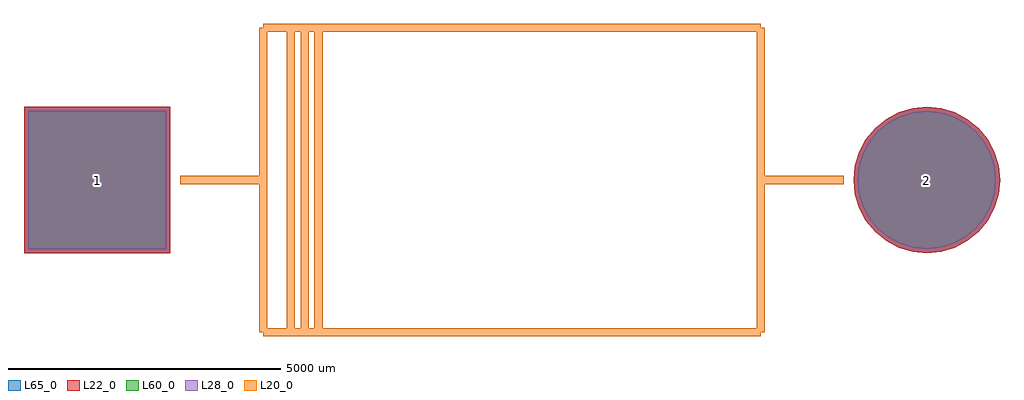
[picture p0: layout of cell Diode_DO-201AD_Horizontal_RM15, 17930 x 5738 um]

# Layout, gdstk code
import gdstk
lib = gdstk.Library(unit=1e-6, precision=1e-09)
def R(c, l, rs):  # rectangles x0, y0, x1, y1
    for r in rs: c.add(gdstk.rectangle(r[:2], r[2:], *l))
def P(c, l, *ps):  # polygons
    for p in ps: c.add(gdstk.Polygon(p, *l))
L20_0 = (20, 0)
L22_0 = (22, 0)
L28_0 = (28, 0)
L60_0 = (60, 0)
L65_0 = (65, 0)

diode_do_201ad_horizonta = lib.new_cell('Diode_DO-201AD_Horizontal_RM15')
R(diode_do_201ad_horizonta, L22_0, [(-1343.78,-1342.04,1346.22,1347.96)])
P(diode_do_201ad_horizonta, L22_0, [(16586.22,2.96),(16560.376,265.356),(16483.838,517.669),(16359.547,750.202),(16192.279,954.019),(15988.462,1121.287),(15755.929,1245.578),(15503.616,1322.116),(15241.22,1347.96),(14978.824,1322.116),(14726.511,1245.578),(14493.978,1121.287),(14290.161,954.019),(14122.893,750.202),(13998.602,517.669),(13922.064,265.356),(13896.22,2.96),(13922.064,-259.436),(13998.602,-511.749),(14122.893,-744.282),(14290.161,-948.099),(14493.978,-1115.367),(14726.511,-1239.658),(14978.824,-1316.196),(15241.22,-1342.04),(15503.616,-1316.196),(15755.929,-1239.658),(15988.462,-1115.367),(16192.279,-948.099),(16359.547,-744.282),(16483.838,-511.749),(16560.376,-259.436)])
R(diode_do_201ad_horizonta, L28_0, [(-1268.78,-1267.04,1271.22,1272.96)])
P(diode_do_201ad_horizonta, L28_0, [(16511.22,2.96),(16486.817,250.725),(16414.547,488.968),(16297.186,708.534),(16139.246,900.986),(15946.794,1058.926),(15727.228,1176.287),(15488.985,1248.557),(15241.22,1272.96),(14993.455,1248.557),(14755.212,1176.287),(14535.646,1058.926),(14343.194,900.986),(14185.254,708.534),(14067.893,488.968),(13995.623,250.725),(13971.22,2.96),(13995.623,-244.805),(14067.893,-483.048),(14185.254,-702.614),(14343.194,-895.066),(14535.646,-1053.006),(14755.212,-1170.367),(14993.455,-1242.637),(15241.22,-1267.04),(15488.985,-1242.637),(15727.228,-1170.367),(15946.794,-1053.006),(16139.246,-895.066),(16297.186,-702.614),(16414.547,-483.048),(16486.817,-244.805)])
R(diode_do_201ad_horizonta, L60_0, [(-1268.78,-1267.04,1271.22,1272.96)])
P(diode_do_201ad_horizonta, L60_0, [(16511.22,2.96),(16486.817,250.725),(16414.547,488.968),(16297.186,708.534),(16139.246,900.986),(15946.794,1058.926),(15727.228,1176.287),(15488.985,1248.557),(15241.22,1272.96),(14993.455,1248.557),(14755.212,1176.287),(14535.646,1058.926),(14343.194,900.986),(14185.254,708.534),(14067.893,488.968),(13995.623,250.725),(13971.22,2.96),(13995.623,-244.805),(14067.893,-483.048),(14185.254,-702.614),(14343.194,-895.066),(14535.646,-1053.006),(14755.212,-1170.367),(14993.455,-1242.637),(15241.22,-1267.04),(15488.985,-1242.637),(15727.228,-1170.367),(15946.794,-1053.006),(16139.246,-895.066),(16297.186,-702.614),(16414.547,-483.048),(16486.817,-244.805)])
R(diode_do_201ad_horizonta, L65_0, [(-1343.78,-1342.04,1346.22,1347.96)])
P(diode_do_201ad_horizonta, L65_0, [(16586.22,2.96),(16560.376,265.356),(16483.838,517.669),(16359.547,750.202),(16192.279,954.019),(15988.462,1121.287),(15755.929,1245.578),(15503.616,1322.116),(15241.22,1347.96),(14978.824,1322.116),(14726.511,1245.578),(14493.978,1121.287),(14290.161,954.019),(14122.893,750.202),(13998.602,517.669),(13922.064,265.356),(13896.22,2.96),(13922.064,-259.436),(13998.602,-511.749),(14122.893,-744.282),(14290.161,-948.099),(14493.978,-1115.367),(14726.511,-1239.658),(14978.824,-1316.196),(15241.22,-1342.04),(15503.616,-1316.196),(15755.929,-1239.658),(15988.462,-1115.367),(16192.279,-948.099),(16359.547,-744.282),(16483.838,-511.749),(16560.376,-259.436)])
diode_do_201ad_horizonta.add(gdstk.FlexPath([(12193.22,-2791.04),(3049.22,-2791.04)], 149.998, ends="flush", simple_path=True, layer=20, datatype=0))  # L20_0
diode_do_201ad_horizonta.add(gdstk.FlexPath([(12193.22,2796.96),(12193.22,-2791.04)], 149.998, ends="flush", simple_path=True, layer=20, datatype=0))  # L20_0
diode_do_201ad_horizonta.add(gdstk.FlexPath([(3049.22,2796.96),(12193.22,2796.96)], 149.998, ends="flush", simple_path=True, layer=20, datatype=0))  # L20_0
diode_do_201ad_horizonta.add(gdstk.FlexPath([(3049.22,-2791.04),(3049.22,2796.96)], 149.998, ends="flush", simple_path=True, layer=20, datatype=0))  # L20_0
diode_do_201ad_horizonta.add(gdstk.FlexPath([(3557.22,2796.96),(3557.22,-2791.04)], 149.998, ends="flush", simple_path=True, layer=20, datatype=0))  # L20_0
diode_do_201ad_horizonta.add(gdstk.FlexPath([(3811.22,2796.96),(3811.22,-2791.04)], 149.998, ends="flush", simple_path=True, layer=20, datatype=0))  # L20_0
diode_do_201ad_horizonta.add(gdstk.FlexPath([(4065.22,2796.96),(4065.22,-2791.04)], 149.998, ends="flush", simple_path=True, layer=20, datatype=0))  # L20_0
diode_do_201ad_horizonta.add(gdstk.FlexPath([(3049.22,2.96),(1525.22,2.96)], 149.998, ends="flush", simple_path=True, layer=20, datatype=0))  # L20_0
diode_do_201ad_horizonta.add(gdstk.FlexPath([(12193.22,2.96),(13717.22,2.96)], 149.998, ends="flush", simple_path=True, layer=20, datatype=0))  # L20_0
diode_do_201ad_horizonta.add(gdstk.Label('1', (1.22,2.96), layer=28, texttype=0))
diode_do_201ad_horizonta.add(gdstk.Label('2', (15241.22,2.96), layer=28, texttype=0))
diode_do_201ad_horizonta.add(gdstk.Label('type', (7829.22,4828.96), layer=9, texttype=0))
diode_do_201ad_horizonta.add(gdstk.Label('devicename', (7067.22,-5077.04), layer=9, texttype=0))

lib.write_gds('Diode_DO-201AD_Horizontal_RM15.gds')
